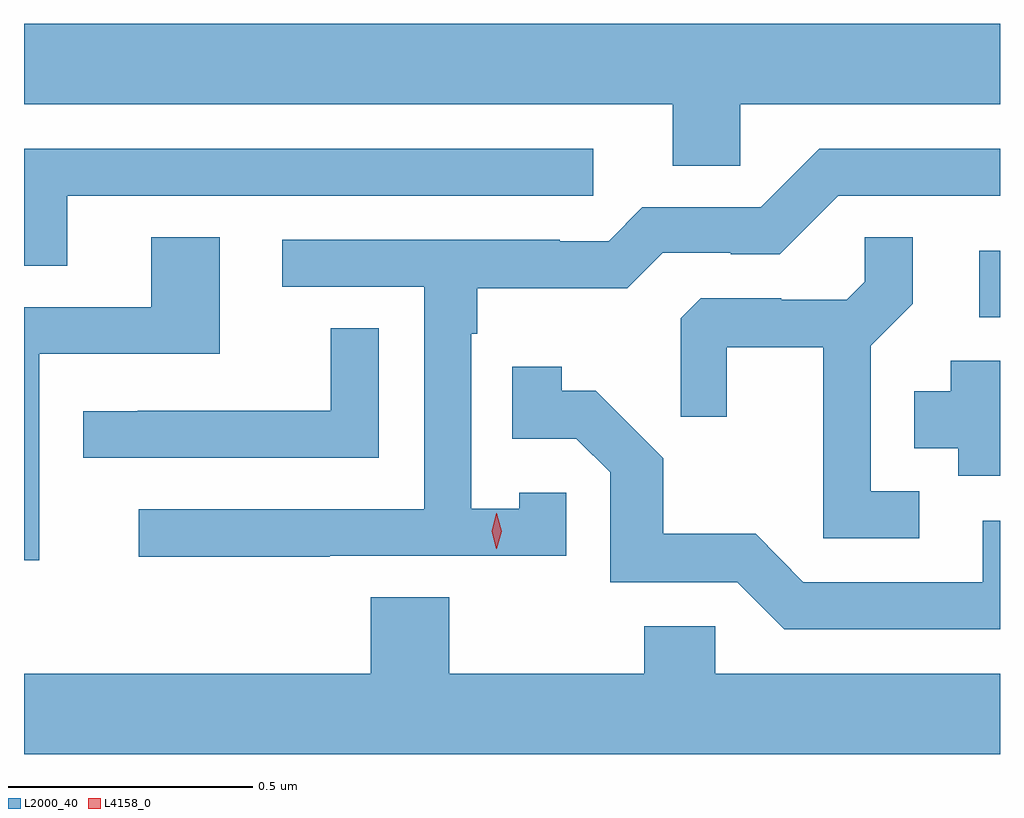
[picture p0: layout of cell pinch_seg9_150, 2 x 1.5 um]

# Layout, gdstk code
import gdstk
lib = gdstk.Library(unit=1e-6, precision=1e-09)
def R(c, l, rs):  # rectangles x0, y0, x1, y1
    for r in rs: c.add(gdstk.rectangle(r[:2], r[2:], *l))
def P(c, l, *ps):  # polygons
    for p in ps: c.add(gdstk.Polygon(p, *l))
L2000_40 = (2000, 40)
L4158_0 = (4158, 0)

pinch_seg9_150 = lib.new_cell('pinch_seg9_150')
R(pinch_seg9_150, L2000_40, [(673.095,1238.607,673.138,1238.743)])
P(pinch_seg9_150, L2000_40, [(672.606,1239.044),(673.138,1239.044),(673.138,1239.208),(671.138,1239.208),(671.138,1239.044),(672.467,1239.044),(672.467,1238.917),(672.606,1238.917)],
  [(671.765,1238.118),(672.249,1238.118),(672.249,1238.247),(672.153,1238.247),(672.153,1238.215),(672.054,1238.215),(672.054,1238.573),(672.067,1238.573),(672.067,1238.666),(672.374,1238.666),(672.447,1238.739),(672.586,1238.739),(672.586,1238.736),(672.687,1238.736),(672.807,1238.856),(673.138,1238.856),(673.138,1238.952),(672.768,1238.952),(672.648,1238.832),(672.405,1238.832),(672.336,1238.763),(672.236,1238.763),(672.236,1238.766),(671.667,1238.766),(671.667,1238.67),(671.958,1238.67),(671.958,1238.214),(671.373,1238.214),(671.373,1238.116),(671.765,1238.116)],
  [(671.227,1238.856),(672.304,1238.856),(672.304,1238.952),(671.138,1238.952),(671.138,1238.713),(671.227,1238.713)],
  [(672.973,1238.25),(672.873,1238.25),(672.873,1238.549),(672.959,1238.635),(672.959,1238.771),(672.861,1238.771),(672.861,1238.68),(672.824,1238.643),(672.69,1238.643),(672.69,1238.646),(672.525,1238.646),(672.484,1238.605),(672.484,1238.403),(672.578,1238.403),(672.578,1238.546),(672.776,1238.546),(672.776,1238.154),(672.973,1238.154)],
  [(671.169,1238.532),(671.539,1238.532),(671.539,1238.771),(671.399,1238.771),(671.399,1238.628),(671.138,1238.628),(671.138,1238.109),(671.169,1238.109)],
  [(671.865,1238.585),(671.767,1238.585),(671.767,1238.415),(671.371,1238.415),(671.371,1238.414),(671.259,1238.414),(671.259,1238.319),(671.865,1238.319)],
  [(673.138,1238.518),(673.037,1238.518),(673.037,1238.455),(672.962,1238.455),(672.962,1238.339),(673.052,1238.339),(673.052,1238.282),(673.138,1238.282)],
  [(673.138,1238.19),(673.103,1238.19),(673.103,1238.064),(672.735,1238.064),(672.637,1238.163),(672.448,1238.163),(672.448,1238.318),(672.31,1238.456),(672.24,1238.456),(672.24,1238.506),(672.139,1238.506),(672.139,1238.358),(672.27,1238.358),(672.339,1238.289),(672.339,1238.064),(672.6,1238.064),(672.696,1237.968),(673.138,1237.968)],
  [(673.138,1237.876),(672.555,1237.876),(672.555,1237.974),(672.409,1237.974),(672.409,1237.876),(672.009,1237.876),(672.009,1238.033),(671.849,1238.033),(671.849,1237.876),(671.138,1237.876),(671.138,1237.712),(673.138,1237.712)])
P(pinch_seg9_150, L4158_0, [(672.106,1238.133),(672.097,1238.169),(672.106,1238.205),(672.107,1238.205),(672.107,1238.205),(672.117,1238.169),(672.107,1238.133),(672.107,1238.133)])

lib.write_gds('pinch_seg9_150.gds')
